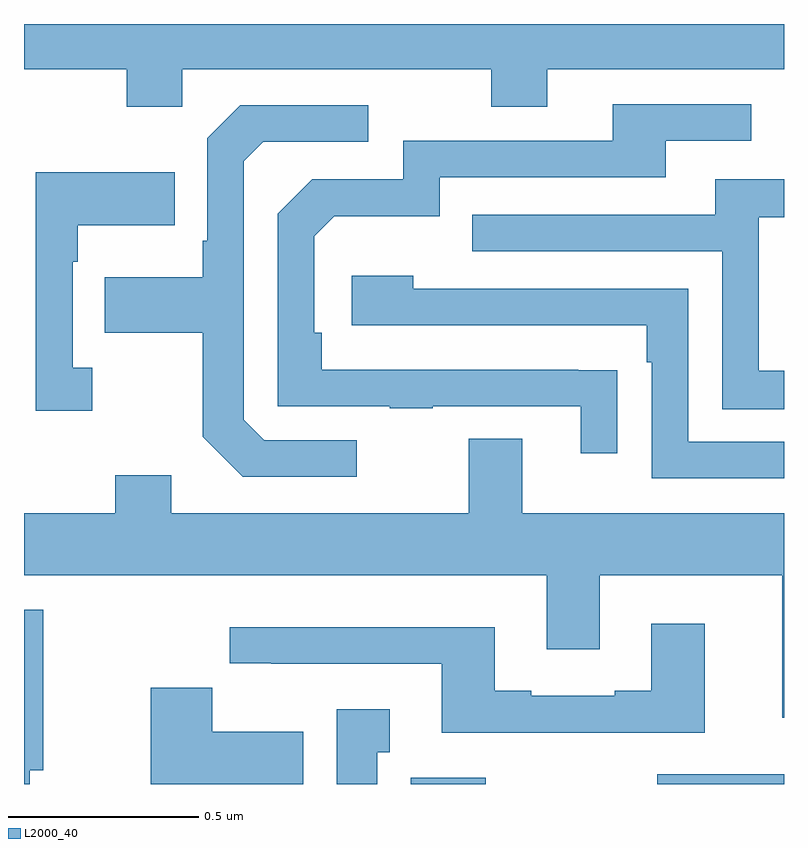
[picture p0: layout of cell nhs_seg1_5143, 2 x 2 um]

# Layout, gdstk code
import gdstk
lib = gdstk.Library(unit=1e-6, precision=1e-09)
def R(c, l, rs):  # rectangles x0, y0, x1, y1
    for r in rs: c.add(gdstk.rectangle(r[:2], r[2:], *l))
def P(c, l, *ps):  # polygons
    for p in ps: c.add(gdstk.Polygon(p, *l))
L2000_40 = (2000, 40)

nhs_seg1_5143 = lib.new_cell('nhs_seg1_5143')
R(nhs_seg1_5143, L2000_40, [(176.018,535.199,176.215,535.216), (176.666,535.199,177,535.225)])
P(nhs_seg1_5143, L2000_40, [(175,537.08),(175.27,537.08),(175.27,536.981),(175.416,536.981),(175.416,537.08),(176.23,537.08),(176.23,536.981),(176.377,536.981),(176.377,537.08),(177,537.08),(177,537.199),(175,537.199)],
  [(176.561,536.288),(176.459,536.288),(176.459,536.289),(175.784,536.289),(175.784,536.386),(175.764,536.386),(175.764,536.64),(175.817,536.693),(176.094,536.693),(176.094,536.796),(176.689,536.796),(176.689,536.892),(176.914,536.892),(176.914,536.988),(176.549,536.988),(176.549,536.892),(175.998,536.892),(175.998,536.79),(175.758,536.79),(175.668,536.7),(175.668,536.193),(175.963,536.193),(175.963,536.188),(176.075,536.188),(176.075,536.193),(176.465,536.193),(176.465,536.07),(176.561,536.07)],
  [(175.876,536.103),(175.632,536.103),(175.578,536.157),(175.578,536.838),(175.629,536.889),(175.906,536.889),(175.906,536.985),(175.569,536.985),(175.482,536.898),(175.482,536.629),(175.47,536.629),(175.47,536.533),(175.213,536.533),(175.213,536.386),(175.47,536.386),(175.47,536.113),(175.575,536.007),(175.876,536.007)],
  [(175.18,536.294),(175.128,536.294),(175.128,536.573),(175.141,536.573),(175.141,536.669),(175.397,536.669),(175.397,536.809),(175.031,536.809),(175.031,536.181),(175.18,536.181)],
  [(177,536.286),(176.934,536.286),(176.934,536.691),(177,536.691),(177,536.791),(176.819,536.791),(176.819,536.697),(176.179,536.697),(176.179,536.601),(176.838,536.601),(176.838,536.185),(177,536.185)],
  [(177,536.1),(176.748,536.1),(176.748,536.502),(176.024,536.502),(176.024,536.536),(175.863,536.536),(175.863,536.406),(176.639,536.406),(176.639,536.309),(176.652,536.309),(176.652,536.004),(177,536.004)],
  [(177,535.912),(176.311,535.912),(176.311,536.107),(176.171,536.107),(176.171,535.912),(175.387,535.912),(175.387,536.011),(175.24,536.011),(175.24,535.912),(175,535.912),(175,535.748),(176.375,535.748),(176.375,535.554),(176.515,535.554),(176.515,535.748),(176.996,535.748),(176.996,535.374),(177,535.374)],
  [(175.015,535.235),(175.051,535.235),(175.051,535.657),(175,535.657),(175,535.199),(175.015,535.199)],
  [(176.791,535.621),(176.651,535.621),(176.651,535.444),(176.555,535.444),(176.555,535.431),(176.335,535.431),(176.335,535.444),(176.239,535.444),(176.239,535.612),(175.542,535.612),(175.542,535.517),(175.651,535.517),(175.651,535.515),(176.099,535.515),(176.099,535.334),(176.791,535.334)],
  [(175.735,535.336),(175.495,535.336),(175.495,535.452),(175.334,535.452),(175.334,535.199),(175.735,535.199)],
  [(175.93,535.283),(175.963,535.283),(175.963,535.396),(175.823,535.396),(175.823,535.199),(175.93,535.199)])

lib.write_gds('nhs_seg1_5143.gds')
